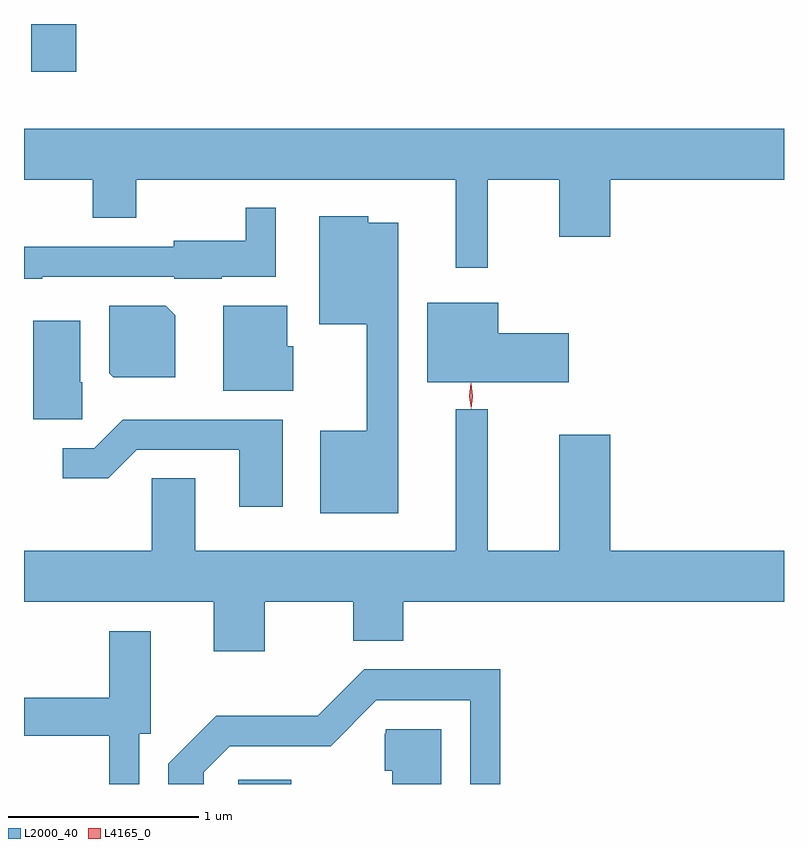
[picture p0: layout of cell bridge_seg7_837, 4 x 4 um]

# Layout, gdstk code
import gdstk
lib = gdstk.Library(unit=1e-6, precision=1e-09)
def R(c, l, rs):  # rectangles x0, y0, x1, y1
    for r in rs: c.add(gdstk.rectangle(r[:2], r[2:], *l))
def P(c, l, *ps):  # polygons
    for p in ps: c.add(gdstk.Polygon(p, *l))
L2000_40 = (2000, 40)
L4165_0 = (4165, 0)

bridge_seg7_837 = lib.new_cell('bridge_seg7_837')
R(bridge_seg7_837, L2000_40, [(313.286,1717.796,313.564,1717.819), (312.196,1721.546,312.434,1721.796)])
P(bridge_seg7_837, L2000_40, [(314.599,1720.976),(314.976,1720.976),(314.976,1720.676),(315.244,1720.676),(315.244,1720.976),(316.158,1720.976),(316.158,1721.244),(312.158,1721.244),(312.158,1720.976),(312.521,1720.976),(312.521,1720.776),(312.749,1720.776),(312.749,1720.976),(314.431,1720.976),(314.431,1720.513),(314.599,1720.513)],
  [(312.255,1720.466),(312.95,1720.466),(312.95,1720.456),(313.2,1720.456),(313.2,1720.466),(313.484,1720.466),(313.484,1720.828),(313.326,1720.828),(313.326,1720.654),(312.946,1720.654),(312.946,1720.624),(312.158,1720.624),(312.158,1720.456),(312.255,1720.456)],
  [(314.129,1720.749),(313.969,1720.749),(313.969,1720.784),(313.711,1720.784),(313.711,1720.216),(313.961,1720.216),(313.961,1719.654),(313.716,1719.654),(313.716,1719.221),(314.129,1719.221)],
  [(315.024,1720.169),(314.654,1720.169),(314.654,1720.329),(314.281,1720.329),(314.281,1719.911),(315.024,1719.911)],
  [(313.574,1720.099),(313.544,1720.099),(313.544,1720.314),(313.206,1720.314),(313.206,1719.866),(313.574,1719.866)],
  [(312.954,1720.264),(312.904,1720.314),(312.606,1720.314),(312.606,1719.957),(312.627,1719.936),(312.954,1719.936)],
  [(312.464,1719.91),(312.454,1719.91),(312.454,1720.234),(312.206,1720.234),(312.206,1719.716),(312.464,1719.716)],
  [(313.059,1719.404),(312.831,1719.404),(312.831,1719.024),(312.158,1719.024),(312.158,1718.756),(313.156,1718.756),(313.156,1718.496),(313.424,1718.496),(313.424,1718.756),(313.891,1718.756),(313.891,1718.551),(314.154,1718.551),(314.154,1718.756),(316.158,1718.756),(316.158,1719.024),(315.244,1719.024),(315.244,1719.634),(314.976,1719.634),(314.976,1719.024),(314.599,1719.024),(314.599,1719.768),(314.431,1719.768),(314.431,1719.024),(313.059,1719.024)],
  [(313.519,1719.714),(312.679,1719.714),(312.529,1719.564),(312.363,1719.564),(312.363,1719.406),(312.602,1719.406),(312.752,1719.556),(313.291,1719.556),(313.291,1719.256),(313.519,1719.256)],
  [(312.764,1718.061),(312.824,1718.061),(312.824,1718.599),(312.606,1718.599),(312.606,1718.249),(312.158,1718.249),(312.158,1718.051),(312.606,1718.051),(312.606,1717.796),(312.764,1717.796)],
  [(313.104,1717.859),(313.242,1717.996),(313.772,1717.996),(314.012,1718.236),(314.506,1718.236),(314.506,1717.796),(314.664,1717.796),(314.664,1718.399),(313.949,1718.399),(313.704,1718.154),(313.169,1718.154),(312.916,1717.902),(312.916,1717.796),(313.104,1717.796)],
  [(314.354,1718.084),(314.062,1718.084),(314.062,1718.06),(314.056,1718.06),(314.056,1717.866),(314.096,1717.866),(314.096,1717.796),(314.354,1717.796)])
P(bridge_seg7_837, L4165_0, [(314.511,1719.77),(314.511,1719.77),(314.501,1719.838),(314.51,1719.905),(314.511,1719.906),(314.511,1719.905),(314.521,1719.838),(314.512,1719.77)],
  [(314.511,1719.773),(314.511,1719.773),(314.501,1719.836),(314.51,1719.899),(314.511,1719.9),(314.511,1719.899),(314.521,1719.836),(314.512,1719.773)])

lib.write_gds('bridge_seg7_837.gds')
